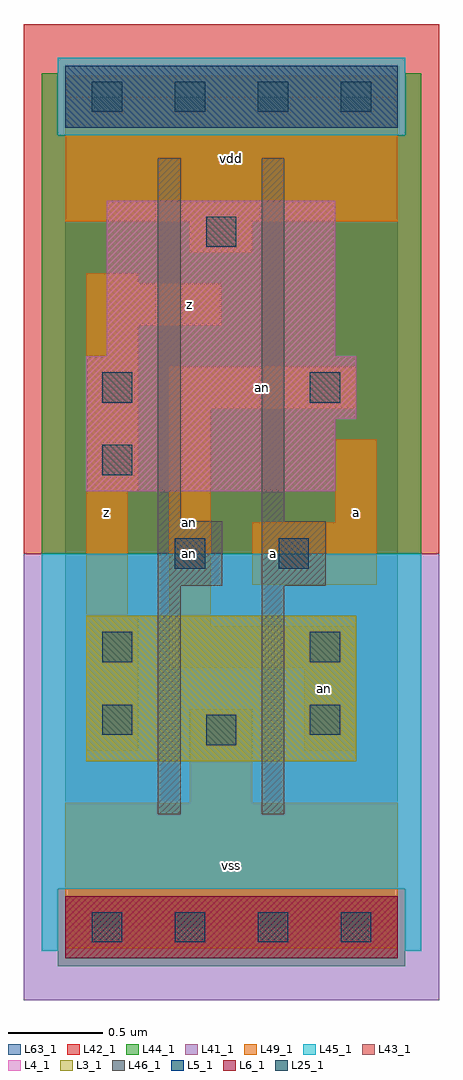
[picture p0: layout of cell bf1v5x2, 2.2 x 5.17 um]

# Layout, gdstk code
import gdstk
lib = gdstk.Library(unit=1e-6, precision=1e-09)
def R(c, l, rs):  # rectangles x0, y0, x1, y1
    for r in rs: c.add(gdstk.rectangle(r[:2], r[2:], *l))
def A(c, l, x, y, w, h, nx, ny, dx, dy):  # array of equal rectangles
    R(c, l, [(x+i*dx, y+j*dy, x+i*dx+w, y+j*dy+h) for i in range(nx) for j in range(ny)])
L3_1 = (3, 1)
L4_1 = (4, 1)
L5_1 = (5, 1)
L6_1 = (6, 1)
L25_1 = (25, 1)
L41_1 = (41, 1)
L42_1 = (42, 1)
L43_1 = (43, 1)
L44_1 = (44, 1)
L45_1 = (45, 1)
L46_1 = (46, 1)
L49_1 = (49, 1)
L63_1 = (63, 1)

bf1v5x2 = lib.new_cell('bf1v5x2')
R(bf1v5x2, L3_1, [(0.11,0.88,1.54,1.65)])
R(bf1v5x2, L4_1, [(0.11,2.31,1.43,2.695), (0.11,2.695,1.54,3.025), (0.22,3.025,1.43,3.85)])
R(bf1v5x2, L5_1, [(0,4.235,1.76,4.565)])
R(bf1v5x2, L6_1, [(0,-0.165,1.76,0.165)])
A(bf1v5x2, L25_1, 0.14, -0.08, 0.16, 0.16, 4, 2, 0.44, 4.4)
R(bf1v5x2, L25_1, [(0.745,0.965,0.905,1.125), (0.195,1.02,0.355,1.18), (1.295,1.02,1.455,1.18), (0.195,1.405,0.355,1.565), (1.295,1.405,1.455,1.565), (0.58,1.9,0.74,2.06), (1.13,1.9,1.29,2.06), (0.195,2.395,0.355,2.555), (0.195,2.78,0.355,2.94), (1.295,2.78,1.455,2.94), (0.745,3.605,0.905,3.765)])
R(bf1v5x2, L41_1, [(-0.22,-0.385,1.98,1.98)])
R(bf1v5x2, L42_1, [(-0.22,1.98,1.98,4.785)])
R(bf1v5x2, L43_1, [(0,-0.165,1.76,0.165), (0.11,0.88,1.54,1.65), (0.11,2.31,1.43,2.695), (0.11,2.695,1.54,3.025), (0.22,3.025,1.43,3.85), (0,4.235,1.76,4.565)])
R(bf1v5x2, L44_1, [(-0.04,-0.205,1.8,0.205), (-0.125,1.98,1.885,4.195), (-0.125,4.195,-0.04,4.525), (1.8,4.195,1.885,4.525)])
R(bf1v5x2, L45_1, [(-0.125,-0.125,-0.04,0.205), (1.8,-0.125,1.885,0.205), (-0.125,0.205,1.885,1.98), (-0.04,4.195,1.8,4.605)])
R(bf1v5x2, L46_1, [(0.49,0.6,0.61,1.81), (1.04,0.6,1.16,1.81), (0.49,1.81,0.83,2.15), (1.04,1.81,1.38,2.15), (0.49,2.15,0.61,4.075), (1.04,2.15,1.16,4.075)])
R(bf1v5x2, L49_1, [(0,-0.11,1.76,0.66), (0.66,0.66,0.99,1.155), (0.11,0.935,0.385,1.65), (1.265,0.935,1.54,1.375), (0.55,1.375,1.54,1.595), (0.55,1.595,0.77,2.75), (0.11,1.65,0.33,2.31), (0.99,1.815,1.65,2.145), (1.43,2.145,1.65,2.585), (0.11,2.31,0.385,3.19), (0.55,2.75,1.54,2.97), (0.11,3.19,0.825,3.41), (0.11,3.41,0.385,3.465), (0.66,3.575,0.99,3.74), (0,3.74,1.76,4.51)])
R(bf1v5x2, L63_1, [(0,0,1.76,4.4)])
bf1v5x2.add(gdstk.Label('an', (0.66,1.98), layer=49, texttype=1))
bf1v5x2.add(gdstk.Label('z', (0.22,2.2), layer=49, texttype=1))
bf1v5x2.add(gdstk.Label('an', (0.66,2.145), layer=49, texttype=1))
bf1v5x2.add(gdstk.Label('z', (0.66,3.3), layer=49, texttype=1))
bf1v5x2.add(gdstk.Label('vss', (0.88,0.33), layer=49, texttype=1))
bf1v5x2.add(gdstk.Label('a', (1.1,1.98), layer=49, texttype=1))
bf1v5x2.add(gdstk.Label('vdd', (0.88,4.07), layer=49, texttype=1))
bf1v5x2.add(gdstk.Label('an', (1.375,1.265), layer=49, texttype=1))
bf1v5x2.add(gdstk.Label('a', (1.54,2.2), layer=49, texttype=1))
bf1v5x2.add(gdstk.Label('an', (1.045,2.86), layer=49, texttype=1))

lib.write_gds('bf1v5x2.gds')
